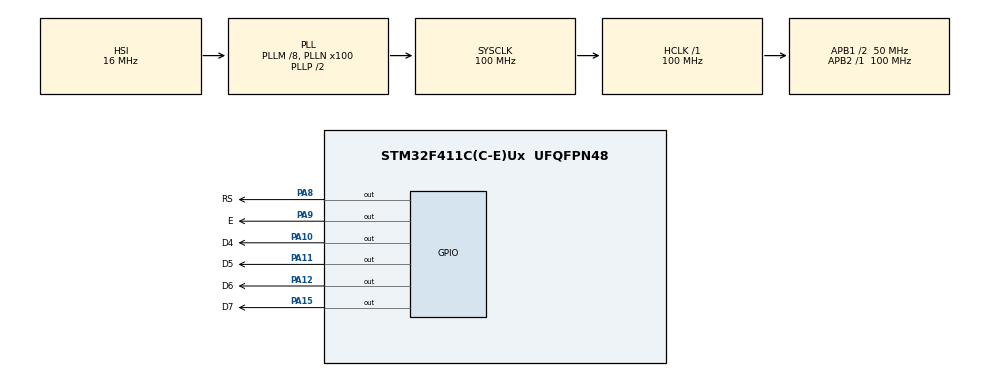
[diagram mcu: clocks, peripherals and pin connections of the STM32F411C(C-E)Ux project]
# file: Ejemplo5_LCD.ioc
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Mcu.Family=STM32F4
Mcu.Name=STM32F411C(C-E)Ux
Mcu.Package=UFQFPN48
NVIC.PriorityGroup=NVIC_PRIORITYGROUP_4
PA10.GPIO_Label=D4
PA10.Signal=GPIO_Output
PA11.GPIO_Label=D5
PA11.Signal=GPIO_Output
PA12.GPIO_Label=D6
PA12.Signal=GPIO_Output
PA13.Mode=Serial_Wire
PA13.Signal=SYS_JTMS-SWDIO
PA14.Mode=Serial_Wire
PA14.Signal=SYS_JTCK-SWCLK
PA15.GPIO_Label=D7
PA15.Signal=GPIO_Output
PA8.GPIO_Label=RS
PA8.Signal=GPIO_Output
PA9.GPIO_Label=E
PA9.Signal=GPIO_Output
ProjectManager.HeapSize=0x200
ProjectManager.StackSize=0x400
ProjectManager.TargetToolchain=STM32CubeIDE
RCC.48MHZClocksFreq_Value=50000000
RCC.AHBFreq_Value=100000000
RCC.APB1CLKDivider=RCC_HCLK_DIV2
RCC.APB1Freq_Value=50000000
RCC.APB1TimFreq_Value=100000000
RCC.APB2Freq_Value=100000000
RCC.APB2TimFreq_Value=100000000
RCC.CortexFreq_Value=100000000
RCC.HCLKFreq_Value=100000000
RCC.HSE_VALUE=25000000
RCC.HSI_VALUE=16000000
RCC.LSE_VALUE=32768
RCC.PLLM=8
RCC.PLLN=100
RCC.SYSCLKFreq_VALUE=100000000
RCC.SYSCLKSource=RCC_SYSCLKSOURCE_PLLCLK
RCC.VCOOutputFreq_Value=200000000
board=custom

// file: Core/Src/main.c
/* USER CODE BEGIN Header */
/**
  ******************************************************************************
  * @file           : main.c
  * @brief          : Main program body
  ******************************************************************************
  * @attention
  *
  * Copyright (c) 2023 STMicroelectronics.
  * All rights reserved.
  *
  * This software is licensed under terms that can be found in the LICENSE file
  * in the root directory of this software component.
  * If no LICENSE file comes with this software, it is provided AS-IS.
  *
  ******************************************************************************
  */
/* USER CODE END Header */
#include "main.h"

/* USER CODE BEGIN Includes */
#include "LCD_STM32.h"
/* USER CODE END Includes */

void SystemClock_Config(void);
static void MX_GPIO_Init(void);

int main(void)
{

  /* MCU Configuration--------------------------------------------------------*/

  /* Reset of all peripherals, Initializes the Flash interface and the Systick. */
  HAL_Init();

  /* Configure the system clock */
  SystemClock_Config();

  /* Initialize all configured peripherals */
  MX_GPIO_Init();
  /* USER CODE BEGIN 2 */
  LCD_STM32_Init();
  LCD_STM32_New_Char(1,0x0A,0x1F,0x1F,0x1F,0x0E,0x04,0x00,0x00);
  LCD_STM32_Set_Cuzrsor(0, Fila1);
  LCD_STM32_Print_String("Hola mundo!!");
  LCD_STM32_Set_Cuzrsor(0, Fila2);
  LCD_STM32_Print_String("STM32 con Godo");
  LCD_STM32_Print_New_Char(1);
uint8_t i;
char str_i[7];
  /* USER CODE END 2 */

  /* Infinite loop */
  /* USER CODE BEGIN WHILE */
  while (1)
  {

	  for (i = 0; i < 99; ++i) {

		  sprintf(str_i,"%02u",i);

		  LCD_STM32_Set_Cuzrsor(13, Fila1);
		  LCD_STM32_Print_String(str_i);
		  HAL_Delay(500);
	}

    /* USER CODE END WHILE */

  }
}

void SystemClock_Config(void)
{
  RCC_OscInitTypeDef RCC_OscInitStruct = {0};
  RCC_ClkInitTypeDef RCC_ClkInitStruct = {0};

  /** Configure the main internal regulator output voltage
  */
  __HAL_RCC_PWR_CLK_ENABLE();
  __HAL_PWR_VOLTAGESCALING_CONFIG(PWR_REGULATOR_VOLTAGE_SCALE1);

  /** Initializes the RCC Oscillators according to the specified parameters
  * in the RCC_OscInitTypeDef structure.
  */
  RCC_OscInitStruct.OscillatorType = RCC_OSCILLATORTYPE_HSI;
  RCC_OscInitStruct.HSIState = RCC_HSI_ON;
  RCC_OscInitStruct.HSICalibrationValue = RCC_HSICALIBRATION_DEFAULT;
  RCC_OscInitStruct.PLL.PLLState = RCC_PLL_ON;
  RCC_OscInitStruct.PLL.PLLSource = RCC_PLLSOURCE_HSI;
  RCC_OscInitStruct.PLL.PLLM = 8;
  RCC_OscInitStruct.PLL.PLLN = 100;
  RCC_OscInitStruct.PLL.PLLP = RCC_PLLP_DIV2;
  RCC_OscInitStruct.PLL.PLLQ = 4;
  if (HAL_RCC_OscConfig(&RCC_OscInitStruct) != HAL_OK)
  {
    Error_Handler();
  }

  /** Initializes the CPU, AHB and APB buses clocks
  */
  RCC_ClkInitStruct.ClockType = RCC_CLOCKTYPE_HCLK|RCC_CLOCKTYPE_SYSCLK
                              |RCC_CLOCKTYPE_PCLK1|RCC_CLOCKTYPE_PCLK2;
  RCC_ClkInitStruct.SYSCLKSource = RCC_SYSCLKSOURCE_PLLCLK;
  RCC_ClkInitStruct.AHBCLKDivider = RCC_SYSCLK_DIV1;
  RCC_ClkInitStruct.APB1CLKDivider = RCC_HCLK_DIV2;
  RCC_ClkInitStruct.APB2CLKDivider = RCC_HCLK_DIV1;

  if (HAL_RCC_ClockConfig(&RCC_ClkInitStruct, FLASH_LATENCY_3) != HAL_OK)
  {
    Error_Handler();
  }
}

static void MX_GPIO_Init(void)
{
  GPIO_InitTypeDef GPIO_InitStruct = {0};

  /* GPIO Ports Clock Enable */
  __HAL_RCC_GPIOA_CLK_ENABLE();

  /*Configure GPIO pin Output Level */
  HAL_GPIO_WritePin(GPIOA, RS_Pin|E_Pin|D4_Pin|D5_Pin
                          |D6_Pin|D7_Pin, GPIO_PIN_RESET);

  /*Configure GPIO pins : RS_Pin E_Pin D4_Pin D5_Pin
                           D6_Pin D7_Pin */
  GPIO_InitStruct.Pin = RS_Pin|E_Pin|D4_Pin|D5_Pin
                          |D6_Pin|D7_Pin;
  GPIO_InitStruct.Mode = GPIO_MODE_OUTPUT_PP;
  GPIO_InitStruct.Pull = GPIO_NOPULL;
  GPIO_InitStruct.Speed = GPIO_SPEED_FREQ_LOW;
  HAL_GPIO_Init(GPIOA, &GPIO_InitStruct);

}

void Error_Handler(void)
{
  __disable_irq();
  while (1)
  {
  }
}
